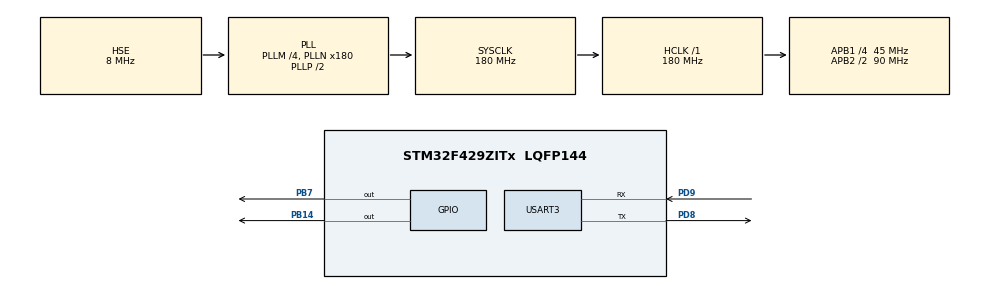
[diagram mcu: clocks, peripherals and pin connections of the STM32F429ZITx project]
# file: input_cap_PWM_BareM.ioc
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Mcu.Family=STM32F4
Mcu.Name=STM32F429ZITx
Mcu.Package=LQFP144
NVIC.PriorityGroup=NVIC_PRIORITYGROUP_4
PA13.Mode=Serial_Wire
PA13.Signal=SYS_JTMS-SWDIO
PA14.Mode=Serial_Wire
PA14.Signal=SYS_JTCK-SWCLK
PB14.Signal=GPIO_Output
PB7.Signal=GPIO_Output
PD8.Mode=Asynchronous
PD8.Signal=USART3_TX
PD9.Mode=Asynchronous
PD9.Signal=USART3_RX
PH0/OSC_IN.Mode=HSE-External-Oscillator
PH0/OSC_IN.Signal=RCC_OSC_IN
PH1/OSC_OUT.Mode=HSE-External-Oscillator
PH1/OSC_OUT.Signal=RCC_OSC_OUT
ProjectManager.HeapSize=0x200
ProjectManager.StackSize=0x400
ProjectManager.TargetToolchain=STM32CubeIDE
RCC.48MHZClocksFreq_Value=90000000
RCC.AHBFreq_Value=180000000
RCC.APB1CLKDivider=RCC_HCLK_DIV4
RCC.APB1Freq_Value=45000000
RCC.APB1TimFreq_Value=90000000
RCC.APB2CLKDivider=RCC_HCLK_DIV2
RCC.APB2Freq_Value=90000000
RCC.APB2TimFreq_Value=180000000
RCC.CortexFreq_Value=180000000
RCC.HCLKFreq_Value=180000000
RCC.HSE_VALUE=8000000
RCC.HSI_VALUE=16000000
RCC.LSE_VALUE=32768
RCC.PLLM=4
RCC.PLLN=180
RCC.PLLSourceVirtual=RCC_PLLSOURCE_HSE
RCC.SYSCLKFreq_VALUE=180000000
RCC.SYSCLKSource=RCC_SYSCLKSOURCE_PLLCLK
RCC.VCOOutputFreq_Value=360000000
USART3.VirtualMode=VM_ASYNC
board=custom

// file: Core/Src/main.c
/* USER CODE BEGIN Header */
/**
  ******************************************************************************
  * @file           : main.c
  * @brief          : Main program body
  ******************************************************************************
  * @attention
  *
  * Copyright (c) 2022 STMicroelectronics.
  * All rights reserved.
  *
  * This software is licensed under terms that can be found in the LICENSE file
  * in the root directory of this software component.
  * If no LICENSE file comes with this software, it is provided AS-IS.
  *
  ******************************************************************************
  */
/* USER CODE END Header */
#include "main.h"

/* USER CODE BEGIN Includes */
#include "pwm_hart.h"

/* USER CODE END Includes */

/* USER CODE BEGIN PD */
//
#define TIMCLOCK   90000000
#define PRESCALAR  90
/* USER CODE END PD */

 UART_HandleTypeDef huart3;

/* USER CODE BEGIN PV */
//
// uint16_t IC1Value;
// uint16_t IC2Value;
// uint16_t DutyCycle;
// uint16_t Frequency;

    uint16_t	Last_value = 0;
 	uint16_t	Current_value = 0;
 	uint16_t	period = 0;
 	uint32_t usWidth = 0;
 	float freq = 0.0;
 	volatile uint8_t Is_First_Captured = 0;
 	float refClock;

 	float frequency = 0.0;
 	float vfc_input = 0.0;

 	float high = 0.0;
 	float low  = 0.0;
 	uint16_t cnt_freq = 0;
 	uint16_t main_cnt_freq = 0;

/* USER CODE END PV */

void SystemClock_Config(void);
static void MX_GPIO_Init(void);
static void MX_USART3_UART_Init(void);

int main(void)
{

  /* MCU Configuration--------------------------------------------------------*/

  /* Reset of all peripherals, Initializes the Flash interface and the Systick. */
  HAL_Init();

  /* Configure the system clock */
  SystemClock_Config();

  /* Initialize all configured peripherals */
  MX_GPIO_Init();
  MX_USART3_UART_Init();
  /* USER CODE BEGIN 2 */

  time_output_CC_init();

  PWM_input_captureInit();

  /* USER CODE END 2 */

  /* Infinite loop */
  /* USER CODE BEGIN WHILE */
  while (1)
  {

	  //////////////////////// WORKING ////////////////////////////////

	while(!(TIM3->SR & 8)){}

	  if (Is_First_Captured == 0)		// if the first value is not captured
	  	  {
	  		  	  Current_value = TIM3->CCR3;		//first value capture
	  		  	  Is_First_Captured = 1;

	  	  }
	  	  else		// if the first is already captured
	  	  {

	  		  	  Last_value = TIM3->CCR3;	//Read last value capture

	  		  	  if(Current_value != 0)
	  				{
	  					period = (Last_value - Current_value);

	  				}

	  			refClock = (TIMCLOCK / TIM3->PSC) ;

	  			frequency = (refClock/period);

	  		  	  Is_First_Captured = 0;

	  		  	main_cnt_freq++;

	  	  }

	//////////////////////////////////////////////////////////////////////////

	  if(frequency > 5000)
	  {
		  high = frequency;
	  }

	  if(frequency < 4930)
	  {
		  low = frequency;
		  cnt_freq++;
	  }
    /* USER CODE END WHILE */

  }
}

void SystemClock_Config(void)
{
  RCC_OscInitTypeDef RCC_OscInitStruct = {0};
  RCC_ClkInitTypeDef RCC_ClkInitStruct = {0};

  /** Configure the main internal regulator output voltage
  */
  __HAL_RCC_PWR_CLK_ENABLE();
  __HAL_PWR_VOLTAGESCALING_CONFIG(PWR_REGULATOR_VOLTAGE_SCALE1);

  /** Initializes the RCC Oscillators according to the specified parameters
  * in the RCC_OscInitTypeDef structure.
  */
  RCC_OscInitStruct.OscillatorType = RCC_OSCILLATORTYPE_HSE;
  RCC_OscInitStruct.HSEState = RCC_HSE_ON;
  RCC_OscInitStruct.PLL.PLLState = RCC_PLL_ON;
  RCC_OscInitStruct.PLL.PLLSource = RCC_PLLSOURCE_HSE;
  RCC_OscInitStruct.PLL.PLLM = 4;
  RCC_OscInitStruct.PLL.PLLN = 180;
  RCC_OscInitStruct.PLL.PLLP = RCC_PLLP_DIV2;
  RCC_OscInitStruct.PLL.PLLQ = 4;
  if (HAL_RCC_OscConfig(&RCC_OscInitStruct) != HAL_OK)
  {
    Error_Handler();
  }

  /** Activate the Over-Drive mode
  */
  if (HAL_PWREx_EnableOverDrive() != HAL_OK)
  {
    Error_Handler();
  }

  /** Initializes the CPU, AHB and APB buses clocks
  */
  RCC_ClkInitStruct.ClockType = RCC_CLOCKTYPE_HCLK|RCC_CLOCKTYPE_SYSCLK
                              |RCC_CLOCKTYPE_PCLK1|RCC_CLOCKTYPE_PCLK2;
  RCC_ClkInitStruct.SYSCLKSource = RCC_SYSCLKSOURCE_PLLCLK;
  RCC_ClkInitStruct.AHBCLKDivider = RCC_SYSCLK_DIV1;
  RCC_ClkInitStruct.APB1CLKDivider = RCC_HCLK_DIV4;
  RCC_ClkInitStruct.APB2CLKDivider = RCC_HCLK_DIV2;

  if (HAL_RCC_ClockConfig(&RCC_ClkInitStruct, FLASH_LATENCY_5) != HAL_OK)
  {
    Error_Handler();
  }
}

static void MX_USART3_UART_Init(void)
{

  huart3.Instance = USART3;
  huart3.Init.BaudRate = 115200;
  huart3.Init.WordLength = UART_WORDLENGTH_8B;
  huart3.Init.StopBits = UART_STOPBITS_1;
  huart3.Init.Parity = UART_PARITY_NONE;
  huart3.Init.Mode = UART_MODE_TX_RX;
  huart3.Init.HwFlowCtl = UART_HWCONTROL_NONE;
  huart3.Init.OverSampling = UART_OVERSAMPLING_16;
  if (HAL_UART_Init(&huart3) != HAL_OK)
  {
    Error_Handler();
  }

}

static void MX_GPIO_Init(void)
{
  GPIO_InitTypeDef GPIO_InitStruct = {0};

  /* GPIO Ports Clock Enable */
  __HAL_RCC_GPIOH_CLK_ENABLE();
  __HAL_RCC_GPIOB_CLK_ENABLE();
  __HAL_RCC_GPIOD_CLK_ENABLE();
  __HAL_RCC_GPIOA_CLK_ENABLE();

  /*Configure GPIO pin Output Level */
  HAL_GPIO_WritePin(GPIOB, GPIO_PIN_14|GPIO_PIN_7, GPIO_PIN_RESET);

  /*Configure GPIO pins : PB14 PB7 */
  GPIO_InitStruct.Pin = GPIO_PIN_14|GPIO_PIN_7;
  GPIO_InitStruct.Mode = GPIO_MODE_OUTPUT_PP;
  GPIO_InitStruct.Pull = GPIO_NOPULL;
  GPIO_InitStruct.Speed = GPIO_SPEED_FREQ_LOW;
  HAL_GPIO_Init(GPIOB, &GPIO_InitStruct);

}

void Error_Handler(void)
{
  __disable_irq();
  while (1)
  {
  }
}
